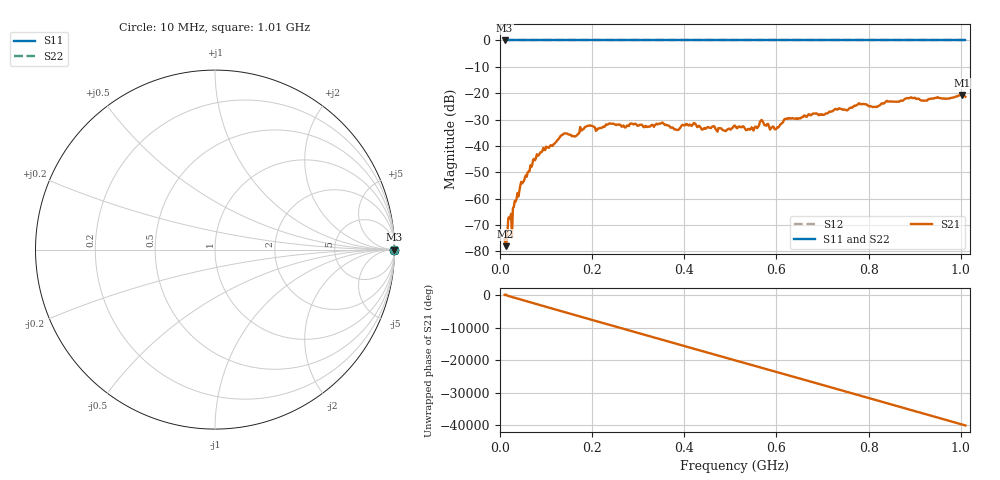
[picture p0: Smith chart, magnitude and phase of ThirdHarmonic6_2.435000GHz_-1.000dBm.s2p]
! 8/17/2025 4:14:52 AM
! C:\ANRITSUVNA\TEMP\TEMP.S2P
! CHANNEL.1
! TR.MEASUREMENT
! RAW.DATA
! RF.CORRECTION.OFF
! AVERAGING.OFF
! IF.BANDWIDTH: 5KHZ
! SWEEPTYPE:  FREQ.SWEEP(Linear)
! Reference Plane Port Info
! PORT:  PORT1  PORT2
! DISTANCE:  0  m  0  m
! TIME:  0  s  0  s
! PHASE.OFFSET:  0  deg.  0  deg.
! LOSS:  0  dB  0  dB
! REF.LOSS:  0  dB  0  dB
! REF.FREQ:  0  Hz  0  Hz
! Power Info
! POWER:  -20  dBm  -20  dBm
! EFF.POWER:  -20  dBm  -20  dBm
! SOURCE.ATTEN:  0  dB  0  dB
! TEST.ATTEN:  0  dB  0  dB
# GHZ S RI R 50.0
! FREQ.GHZ  S11RE  S11IM  S21RE  S21IM  S12RE  S12IM  S22RE  S22IM
!; PortSelection: Port_12
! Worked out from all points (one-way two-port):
!   501 points, 10 MHz to 1.01 GHz, reference 50 ohm
!   highest |S21| = -20.72 dB at 1.002 GHz (marker M1); lowest = -78.0 dB at 12 MHz (marker M2)
!   lowest |S11| = 0.0 dB at 10 MHz (marker M3)
!   |S11| at or under -10 dB: nowhere
!   |S22| runs from 0.0 to 0.0 dB; largest |S21 - S12| = 1.1
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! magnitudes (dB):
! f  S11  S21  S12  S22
! 10 MHz  0.0  -75.3  0.0  0.0
! 12 MHz  0.0  -78.0  0.0  0.0
! 20 MHz  0.0  -67.0  0.0  0.0
! 26 MHz  0.0  -74.7  0.0  0.0
! 42 MHz  0.0  -57.2  0.0  0.0
! 76 MHz  0.0  -45.4  0.0  0.0
! 136 MHz  0.0  -35.7  0.0  0.0
! 164 MHz  0.0  -36.3  0.0  0.0
! 178 MHz  0.0  -34.1  0.0  0.0
! 344 MHz  0.0  -31.6  0.0  0.0
! 384 MHz  0.0  -33.9  0.0  0.0
! 422 MHz  0.0  -31.3  0.0  0.0
! 488 MHz  0.0  -34.3  0.0  0.0
! 510 MHz  0.0  -32.3  0.0  0.0
! 546 MHz  0.0  -32.9  0.0  0.0
! 568 MHz  0.0  -30.1  0.0  0.0
! 600 MHz  0.0  -33.5  0.0  0.0
! 620 MHz  0.0  -29.7  0.0  0.0
! 678 MHz  0.0  -27.8  0.0  0.0
! 844 MHz  0.0  -23.2  0.0  0.0
! 1.002 GHz  0.0  -20.7  0.0  0.0
! 1.01 GHz  0.0  -21.3  0.0  0.0
